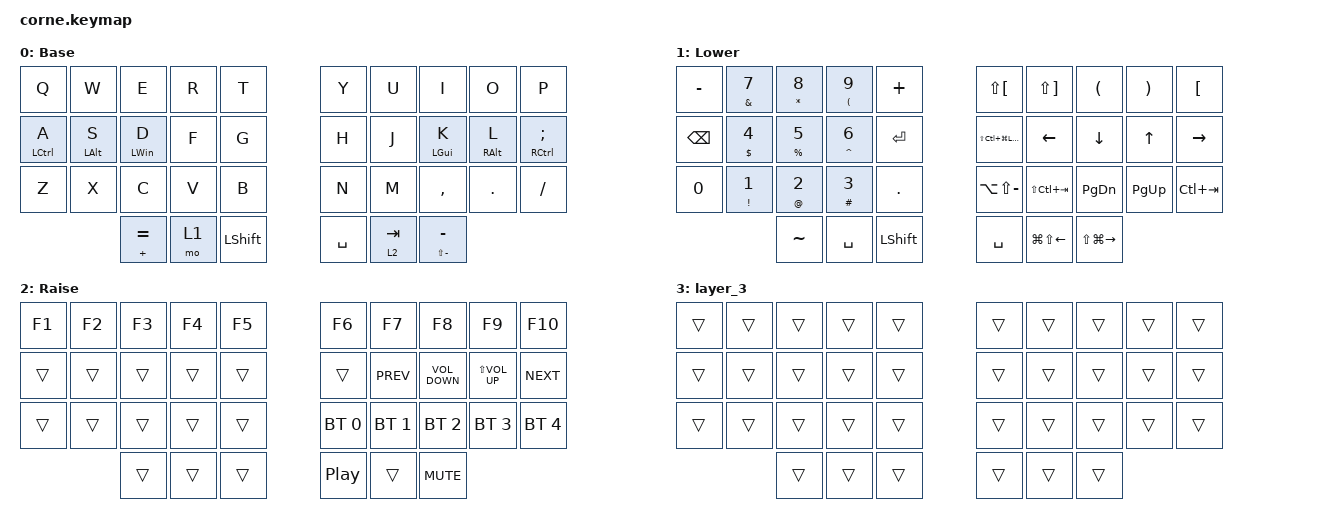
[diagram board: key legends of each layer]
/*
 * Copyright (c) 2020 The ZMK Contributors
 *
 * SPDX-License-Identifier: MIT
 */

#include <behaviors.dtsi>
#include <dt-bindings/zmk/bt.h>
#include <dt-bindings/zmk/keys.h>

/ {
    chosen {
        zmk,physical-layout = &foostan_corne_5col_layout;
    };
    behaviors {
        HMR: HMR {
            compatible = "zmk,behavior-hold-tap";
            label = "HMR";
            bindings = <&kp>, <&kp>;

            #binding-cells = <2>;
            tapping-term-ms = <280>;
            quick-tap-ms = <175>;
            flavor = "tap-preferred";
            hold-trigger-key-positions = <0 1 2 3 4 5 12 13 14 15 16 17 24 25 26 27 28 29 36 37 38 39 40 41>;
            hold-trigger-on-release;
        };

        HML: HML {
            compatible = "zmk,behavior-hold-tap";
            label = "HML";
            bindings = <&kp>, <&kp>;

            #binding-cells = <2>;
            tapping-term-ms = <280>;
            quick-tap-ms = <175>;
            flavor = "tap-preferred";
            hold-trigger-on-release;
            hold-trigger-key-positions = <36 37 38 6 7 8 9 10 11 18 19 20 21 22 23 30 31 32 33 34 35 39 40 41>;
        };
    };

    keymap {
        compatible = "zmk,keymap";

        default_layer {
            // -----------------------------------------------------------------------------------------
            // |  Q  |  W  |  E  |  R  |  T  |   |  Y  |  U   |  I  |  O  |  P  |
            // |  A  |  S  |  D  |  F  |  G  |   |  H  |  J   |  K  |  L  |  ;  |
            // |  Z  |  X  |  C  |  V  |  B  |   |  N  |  M   |  ,  |  .  |  /  |
            //               GUI | LWR | SPC |   | ENT | RSE  | ALT |

            display-name = "Base";
            bindings = <
&kp Q                &kp W            &kp E            &kp R  &kp T             &kp Y      &kp U      &kp I                 &kp O             &kp P                         
&HML LEFT_CONTROL A  &HML LEFT_ALT S  &HML LEFT_WIN D  &kp F  &kp G             &kp H      &kp J      &HMR LEFT_GUI K       &HMR RIGHT_ALT L  &HMR RIGHT_CONTROL SEMICOLON  
&kp Z                &kp X            &kp C            &kp V  &kp B             &kp N      &kp M      &kp COMMA             &kp DOT           &kp FSLH                      
                                                     &HML PLUS EQUAL  &mo 1  &kp LEFT_SHIFT    &kp SPACE  &lt 2 TAB  &HMR LS(MINUS) MINUS
            >;
        };

        lower_layer {
            // -----------------------------------------------------------------------------------------
            // |  1  |  2  |  3  |  4  |  5  |   |  6  |  7  |  8  |  9  |  0  |
            // | BT1 | BT2 | BT3 | BT4 | BT5 |   | LFT | DWN |  UP | RGT |     | 
            // |     |     |     |     |     |   |     |     |     |     |     |
            //                    | GUI |     | SPC |   | ENT |     | ALT |

            display-name = "Lower";
            bindings = <
&kp MINUS      &mt AMPERSAND N7          &mt ASTERISK N8       &mt LEFT_PARENTHESIS N9  &kp PLUS          &kp LS(LEFT_BRACKET)      &kp LS(RIGHT_BRACKET)  &kp LEFT_PARENTHESIS  &kp RIGHT_PARENTHESIS  &kp LEFT_BRACKET  
&kp BACKSPACE  &mt DOLLAR NUMBER_4       &mt PERCENT N5        &mt CARET NUMBER_6       &kp ENTER         &kp LS(LC(LG(LEFT_ALT)))  &kp LEFT               &kp DOWN              &kp UP_ARROW           &kp RIGHT_ARROW   
&kp N0         &mt EXCLAMATION NUMBER_1  &mt AT_SIGN NUMBER_2  &mt HASH NUMBER_3        &kp PERIOD        &kp LA(LS(MINUS))         &kp LS(LC(TAB))        &kp PAGE_DOWN         &kp PG_UP              &kp LC(TAB)       
                                                               &kp TILDE             &kp SPACE                &kp LEFT_SHIFT    &kp SPACE                 &kp LG(LS(LEFT))       &kp LS(LG(RIGHT))
            >;
        };

        raise_layer {
            // -----------------------------------------------------------------------------------------
            // |   !  |  @  |  #  |  $  |  %  |   |  ^  |  &  |  *  |  (  |  )  | 
            // |      |     |     |     |     |   |  -  |  =  |  [  |  ]  |  \  | 
            // |      |     |     |     |     |   |  _  |  +  |  {  |  }  | "|" |
            //                    | GUI |     | SPC |   | ENT |     | ALT |

            display-name = "Raise";
            bindings = <
&kp F1  &kp F2  &kp F3  &kp F4  &kp F5    &kp F6            &kp F7        &kp F8             &kp F9            &kp F10       
&trans  &trans  &trans  &trans  &trans    &trans            &kp C_PREV    &kp K_VOLUME_DOWN  &kp LS(K_VOL_UP)  &kp C_NEXT    
&trans  &trans  &trans  &trans  &trans    &bt BT_SEL 0      &bt BT_SEL 1  &bt BT_SEL 2       &bt BT_SEL 3      &bt BT_SEL 4  
                &trans  &trans  &trans    &kp C_PLAY_PAUSE  &trans        &kp C_MUTE
            >;
        };

        layer_3 {
            bindings = <
&trans  &trans  &trans  &trans  &trans    &trans  &trans  &trans  &trans  &trans
&trans  &trans  &trans  &trans  &trans    &trans  &trans  &trans  &trans  &trans
&trans  &trans  &trans  &trans  &trans    &trans  &trans  &trans  &trans  &trans
                &trans  &trans  &trans    &trans  &trans  &trans
            >;
        };
    };
};
